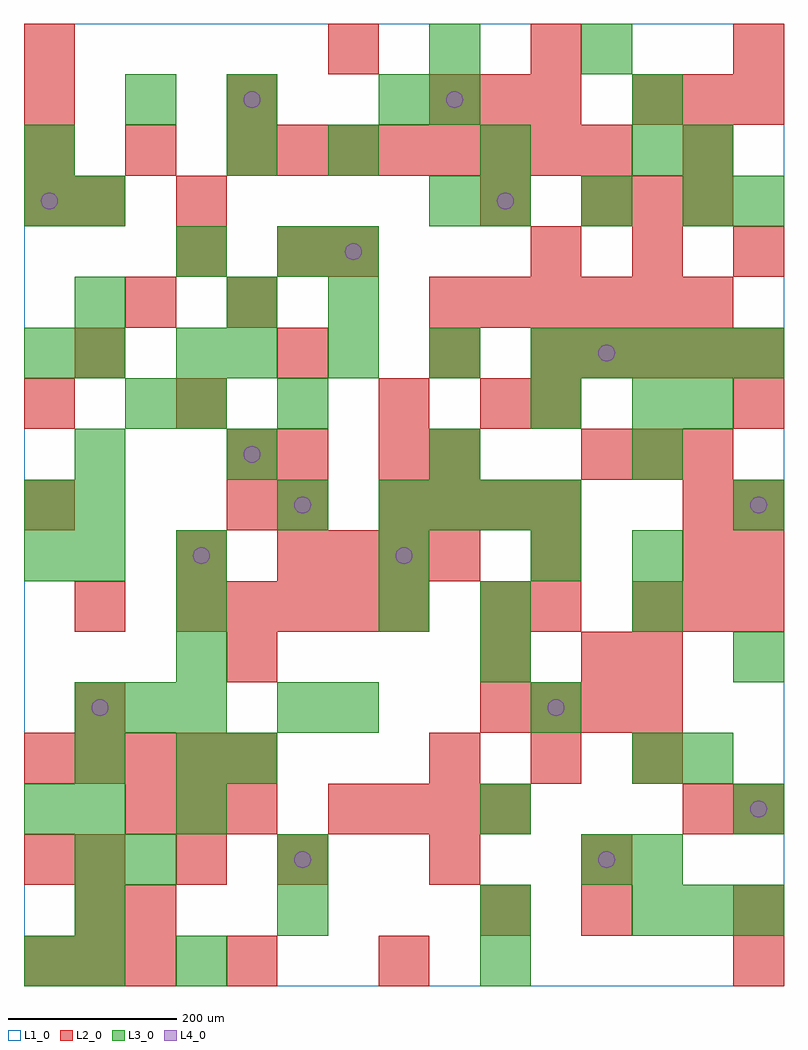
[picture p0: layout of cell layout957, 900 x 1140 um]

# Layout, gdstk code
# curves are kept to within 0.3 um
import gdstk
lib = gdstk.Library(unit=1e-6, precision=1e-09)
def R(c, l, rs):  # rectangles x0, y0, x1, y1
    for r in rs: c.add(gdstk.rectangle(r[:2], r[2:], *l))
def A(c, l, x, y, w, h, nx, ny, dx, dy):  # array of equal rectangles
    R(c, l, [(x+i*dx, y+j*dy, x+i*dx+w, y+j*dy+h) for i in range(nx) for j in range(ny)])
def P(c, l, *ps):  # polygons
    for p in ps: c.add(gdstk.Polygon(p, *l))
L1_0 = (1, 0)
L2_0 = (2, 0)
L3_0 = (3, 0)
L4_0 = (4, 0)

layout957 = lib.new_cell('layout957')
R(layout957, L1_0, [(0,0,900,1140)])
A(layout957, L2_0, 0, 0, 60, 60, 3, 1, 60, 0)
A(layout957, L2_0, 60, 120, 60, 60, 3, 1, 120, 0)
A(layout957, L2_0, 120, 180, 60, 60, 3, 1, 60, 0)
A(layout957, L2_0, 360, 180, 60, 60, 4, 1, 60, 0)
A(layout957, L2_0, 0, 240, 60, 60, 5, 1, 60, 0)
A(layout957, L2_0, 480, 240, 60, 60, 3, 1, 120, 0)
A(layout957, L2_0, 540, 300, 60, 60, 4, 1, 60, 0)
A(layout957, L2_0, 180, 420, 60, 60, 5, 1, 60, 0)
A(layout957, L2_0, 540, 420, 60, 60, 1, 3, 0, 240)
A(layout957, L2_0, 720, 420, 60, 60, 3, 2, 60, 600)
A(layout957, L2_0, 180, 480, 60, 60, 1, 3, 0, 180)
A(layout957, L2_0, 300, 480, 60, 60, 4, 1, 60, 0)
A(layout957, L2_0, 420, 540, 60, 60, 4, 1, 60, 0)
A(layout957, L2_0, 300, 600, 60, 60, 1, 3, 0, 120)
A(layout957, L2_0, 660, 600, 60, 60, 3, 2, 60, 300)
A(layout957, L2_0, 600, 720, 60, 60, 5, 1, 60, 0)
A(layout957, L2_0, 480, 780, 60, 60, 6, 1, 60, 0)
A(layout957, L2_0, 600, 840, 60, 60, 3, 1, 120, 0)
A(layout957, L2_0, 0, 960, 60, 60, 3, 1, 120, 0)
A(layout957, L2_0, 300, 960, 60, 60, 7, 1, 60, 0)
A(layout957, L2_0, 0, 1020, 60, 60, 3, 1, 240, 0)
A(layout957, L2_0, 360, 1080, 60, 60, 3, 1, 240, 0)
R(layout957, L2_0, [(240,0,300,60), (420,0,480,60), (840,0,900,60), (60,60,120,120), (120,60,180,120), (540,60,600,120), (660,60,720,120), (840,60,900,120), (0,120,60,180), (480,120,540,180), (660,120,720,180), (780,180,840,240), (840,180,900,240), (60,300,120,360), (240,360,300,420), (540,360,600,420), (660,360,720,420), (720,360,780,420), (60,420,120,480), (600,420,660,480), (600,480,660,540), (780,480,840,540), (840,480,900,540), (0,540,60,600), (240,540,300,600), (300,540,360,600), (780,540,840,600), (840,540,900,600), (240,600,300,660), (420,600,480,660), (480,600,540,660), (0,660,60,720), (420,660,480,720), (600,660,660,720), (840,660,900,720), (60,720,120,780), (480,720,540,780), (120,780,180,840), (240,780,300,840), (360,840,420,900), (0,900,60,960), (60,900,120,960), (180,900,240,960), (780,960,840,1020), (540,1020,600,1080), (600,1020,660,1080), (0,1080,60,1140)])
A(layout957, L3_0, 540, 0, 60, 60, 1, 3, 0, 180)
A(layout957, L3_0, 60, 60, 60, 60, 3, 1, 240, 0)
A(layout957, L3_0, 720, 60, 60, 60, 3, 1, 60, 0)
A(layout957, L3_0, 60, 120, 60, 60, 1, 3, 0, 60)
A(layout957, L3_0, 840, 180, 60, 60, 1, 3, 0, 180)
A(layout957, L3_0, 60, 300, 60, 60, 3, 1, 60, 0)
A(layout957, L3_0, 600, 300, 60, 60, 1, 3, 0, 180)
A(layout957, L3_0, 180, 360, 60, 60, 1, 3, 0, 60)
A(layout957, L3_0, 60, 480, 60, 60, 1, 3, 0, 60)
A(layout957, L3_0, 0, 540, 60, 60, 1, 3, 0, 180)
A(layout957, L3_0, 420, 540, 60, 60, 4, 1, 60, 0)
A(layout957, L3_0, 240, 600, 60, 60, 3, 1, 240, 0)
A(layout957, L3_0, 240, 720, 60, 60, 4, 1, 120, 0)
A(layout957, L3_0, 660, 720, 60, 60, 4, 1, 60, 0)
A(layout957, L3_0, 540, 900, 60, 60, 3, 1, 120, 0)
A(layout957, L3_0, 360, 960, 60, 60, 3, 1, 180, 0)
R(layout957, L3_0, [(0,0,60,60), (60,0,120,60), (180,0,240,60), (120,120,180,180), (300,120,360,180), (660,120,720,180), (720,120,780,180), (0,180,60,240), (180,180,240,240), (180,240,240,300), (240,240,300,300), (720,240,780,300), (780,240,840,300), (300,300,360,360), (360,300,420,360), (420,420,480,480), (540,420,600,480), (720,420,780,480), (0,480,60,540), (420,480,480,540), (720,480,780,540), (300,540,360,600), (120,660,180,720), (180,660,240,720), (300,660,360,720), (720,660,780,720), (780,660,840,720), (60,720,120,780), (180,720,240,780), (60,780,120,840), (240,780,300,840), (360,780,420,840), (180,840,240,900), (300,840,360,900), (360,840,420,900), (60,900,120,960), (480,900,540,960), (840,900,900,960), (0,960,60,1020), (240,960,300,1020), (780,960,840,1020), (120,1020,180,1080), (240,1020,300,1080), (420,1020,480,1080), (480,1020,540,1080), (720,1020,780,1080), (480,1080,540,1140), (660,1080,720,1140)])
P(layout957, L4_0, [(40,930),(39.239,933.827),(37.071,937.071),(33.827,939.239),(30,940),(26.173,939.239),(22.929,937.071),(20.761,933.827),(20,930),(20.761,926.173),(22.929,922.929),(26.173,920.761),(30,920),(33.827,920.761),(37.071,922.929),(39.239,926.173)],
  [(100,330),(99.239,333.827),(97.071,337.071),(93.827,339.239),(90,340),(86.173,339.239),(82.929,337.071),(80.761,333.827),(80,330),(80.761,326.173),(82.929,322.929),(86.173,320.761),(90,320),(93.827,320.761),(97.071,322.929),(99.239,326.173)],
  [(220,510),(219.239,513.827),(217.071,517.071),(213.827,519.239),(210,520),(206.173,519.239),(202.929,517.071),(200.761,513.827),(200,510),(200.761,506.173),(202.929,502.929),(206.173,500.761),(210,500),(213.827,500.761),(217.071,502.929),(219.239,506.173)],
  [(280,630),(279.239,633.827),(277.071,637.071),(273.827,639.239),(270,640),(266.173,639.239),(262.929,637.071),(260.761,633.827),(260,630),(260.761,626.173),(262.929,622.929),(266.173,620.761),(270,620),(273.827,620.761),(277.071,622.929),(279.239,626.173)],
  [(280,1050),(279.239,1053.827),(277.071,1057.071),(273.827,1059.239),(270,1060),(266.173,1059.239),(262.929,1057.071),(260.761,1053.827),(260,1050),(260.761,1046.173),(262.929,1042.929),(266.173,1040.761),(270,1040),(273.827,1040.761),(277.071,1042.929),(279.239,1046.173)],
  [(340,150),(339.239,153.827),(337.071,157.071),(333.827,159.239),(330,160),(326.173,159.239),(322.929,157.071),(320.761,153.827),(320,150),(320.761,146.173),(322.929,142.929),(326.173,140.761),(330,140),(333.827,140.761),(337.071,142.929),(339.239,146.173)],
  [(340,570),(339.239,573.827),(337.071,577.071),(333.827,579.239),(330,580),(326.173,579.239),(322.929,577.071),(320.761,573.827),(320,570),(320.761,566.173),(322.929,562.929),(326.173,560.761),(330,560),(333.827,560.761),(337.071,562.929),(339.239,566.173)],
  [(400,870),(399.239,873.827),(397.071,877.071),(393.827,879.239),(390,880),(386.173,879.239),(382.929,877.071),(380.761,873.827),(380,870),(380.761,866.173),(382.929,862.929),(386.173,860.761),(390,860),(393.827,860.761),(397.071,862.929),(399.239,866.173)],
  [(460,510),(459.239,513.827),(457.071,517.071),(453.827,519.239),(450,520),(446.173,519.239),(442.929,517.071),(440.761,513.827),(440,510),(440.761,506.173),(442.929,502.929),(446.173,500.761),(450,500),(453.827,500.761),(457.071,502.929),(459.239,506.173)],
  [(520,1050),(519.239,1053.827),(517.071,1057.071),(513.827,1059.239),(510,1060),(506.173,1059.239),(502.929,1057.071),(500.761,1053.827),(500,1050),(500.761,1046.173),(502.929,1042.929),(506.173,1040.761),(510,1040),(513.827,1040.761),(517.071,1042.929),(519.239,1046.173)],
  [(580,930),(579.239,933.827),(577.071,937.071),(573.827,939.239),(570,940),(566.173,939.239),(562.929,937.071),(560.761,933.827),(560,930),(560.761,926.173),(562.929,922.929),(566.173,920.761),(570,920),(573.827,920.761),(577.071,922.929),(579.239,926.173)],
  [(640,330),(639.239,333.827),(637.071,337.071),(633.827,339.239),(630,340),(626.173,339.239),(622.929,337.071),(620.761,333.827),(620,330),(620.761,326.173),(622.929,322.929),(626.173,320.761),(630,320),(633.827,320.761),(637.071,322.929),(639.239,326.173)],
  [(700,150),(699.239,153.827),(697.071,157.071),(693.827,159.239),(690,160),(686.173,159.239),(682.929,157.071),(680.761,153.827),(680,150),(680.761,146.173),(682.929,142.929),(686.173,140.761),(690,140),(693.827,140.761),(697.071,142.929),(699.239,146.173)],
  [(700,750),(699.239,753.827),(697.071,757.071),(693.827,759.239),(690,760),(686.173,759.239),(682.929,757.071),(680.761,753.827),(680,750),(680.761,746.173),(682.929,742.929),(686.173,740.761),(690,740),(693.827,740.761),(697.071,742.929),(699.239,746.173)],
  [(880,210),(879.239,213.827),(877.071,217.071),(873.827,219.239),(870,220),(866.173,219.239),(862.929,217.071),(860.761,213.827),(860,210),(860.761,206.173),(862.929,202.929),(866.173,200.761),(870,200),(873.827,200.761),(877.071,202.929),(879.239,206.173)],
  [(880,570),(879.239,573.827),(877.071,577.071),(873.827,579.239),(870,580),(866.173,579.239),(862.929,577.071),(860.761,573.827),(860,570),(860.761,566.173),(862.929,562.929),(866.173,560.761),(870,560),(873.827,560.761),(877.071,562.929),(879.239,566.173)])

lib.write_gds('layout957.gds')
